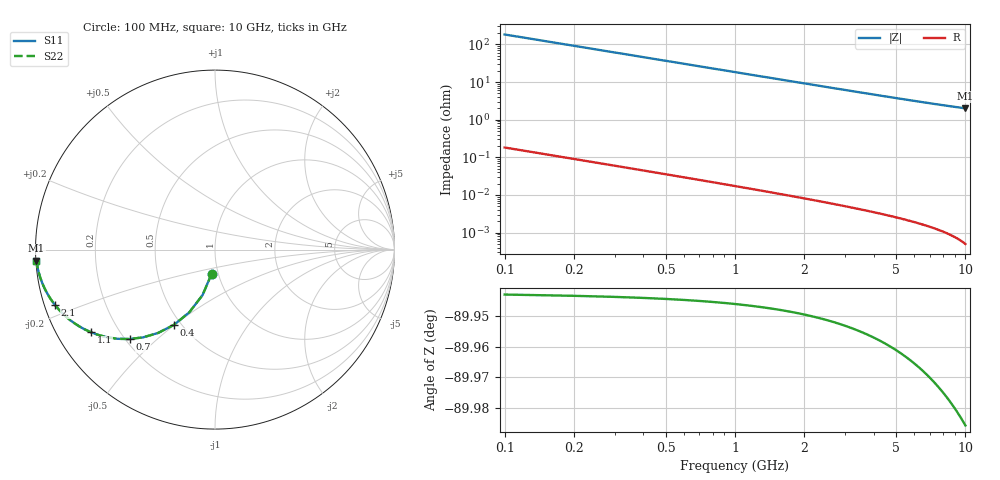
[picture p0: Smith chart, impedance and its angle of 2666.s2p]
# Hz S RI R 50.00
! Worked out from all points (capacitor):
!   100 points, 100 MHz to 10 GHz, reference 50 ohm
!   read as one part in shunt: C = 8.66 pF near 100 MHz
!   lowest |Z| = 2.01 ohm at 10 GHz (marker M1)
!   S11 on the Smith chart (normalised r, x): 100 MHz: 0.93, -0.25; 400 MHz: 0.46, -0.50; 700 MHz: 0.22, -0.41; 1.1 GHz: 0.10, -0.30; 2.1 GHz: 0.03, -0.17; 10 GHz: 0.00, -0.03
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1e8  -0.0182 -0.1335  0.9816 -0.1336  0.9816 -0.1336  -0.0182 -0.1335
2e8  -0.0691 -0.2531  0.9308 -0.2534  0.9308 -0.2534  -0.0691 -0.2531
3e8  -0.143 -0.3494  0.8569 -0.3499  0.8569 -0.3499  -0.143 -0.3494
4e8  -0.2287 -0.4192  0.7712 -0.4199  0.7712 -0.4199  -0.2287 -0.4192
5e8  -0.3165 -0.4642  0.6834 -0.4651  0.6834 -0.4651  -0.3165 -0.4642
6e8  -0.4 -0.4889  0.5999 -0.4899  0.5999 -0.4899  -0.4 -0.4889
7e8  -0.4756 -0.4983  0.5242 -0.4995  0.5242 -0.4995  -0.4756 -0.4983
8e8  -0.5422 -0.497  0.4576 -0.4984  0.4576 -0.4984  -0.5422 -0.497
9e8  -0.5998 -0.4886  0.4001 -0.4902  0.4001 -0.4902  -0.5998 -0.4886
1.1e9  -0.6912 -0.4605  0.3087 -0.4624  0.3087 -0.4624  -0.6912 -0.4605
1.2e9  -0.727 -0.4439  0.2728 -0.446  0.2728 -0.446  -0.727 -0.4439
1.4e9  -0.7838 -0.4099  0.2161 -0.4124  0.2161 -0.4124  -0.7838 -0.4099
1.6e9  -0.8256 -0.3775  0.1743 -0.3803  0.1743 -0.3803  -0.8256 -0.3775
1.8e9  -0.8569 -0.348  0.1429 -0.3511  0.1429 -0.3511  -0.8569 -0.348
2.1e9  -0.8907 -0.3095  0.1091 -0.3132  0.1091 -0.3132  -0.8907 -0.3095
2.7e9  -0.9309 -0.2505  0.0689 -0.2553  0.0689 -0.2553  -0.9309 -0.2505
3.4e9  -0.9553 -0.2028  0.0445 -0.2089  0.0445 -0.2089  -0.9553 -0.2028
4.2e9  -0.9703 -0.1652  0.0295 -0.1727  0.0295 -0.1727  -0.9703 -0.1652
5.1e9  -0.9797 -0.1355  0.0201 -0.1447  0.0201 -0.1447  -0.9797 -0.1355
6.7e9  -0.9882 -0.1008  0.0116 -0.113  0.0116 -0.113  -0.9882 -0.1008
8.4e9  -0.9925 -0.0771  0.00723 -0.0926  0.00723 -0.0926  -0.9925 -0.0771
1e10  -0.9947 -0.0613  0.00494 -0.08  0.00494 -0.08  -0.9947 -0.0613
